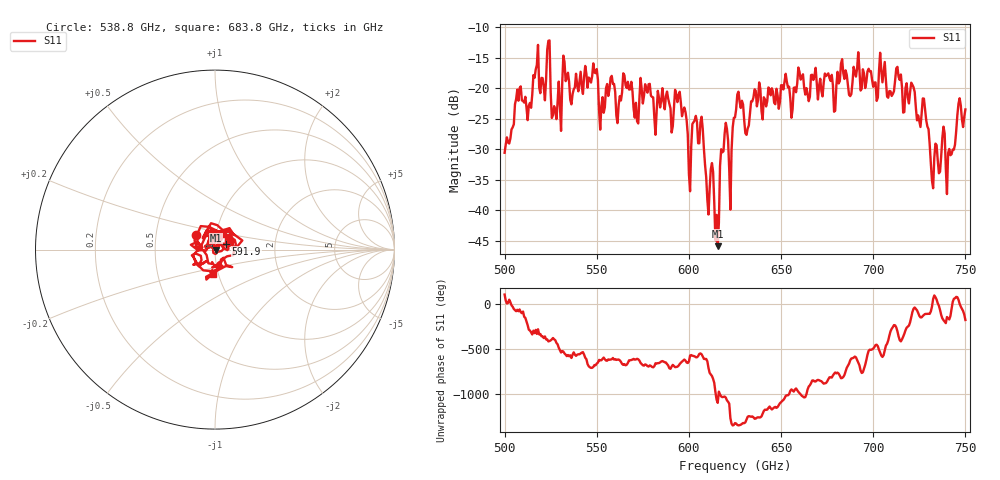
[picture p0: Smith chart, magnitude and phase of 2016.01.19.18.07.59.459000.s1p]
!Created with skrf (http://scikit-rf.org).
# GHz S RI R 50.0
!freq ReS11 ImS11
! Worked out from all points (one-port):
!   401 points, 500 GHz to 750 GHz, reference 50 ohm
!   lowest |S11| = -45.9 dB at 615.6 GHz (marker M1), VSWR 1.01, Z = 50.5 - j0.212 ohm
!   |S11| at or under -10 dB: start of sweep to end of sweep
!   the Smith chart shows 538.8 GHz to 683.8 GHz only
!   S11 on the Smith chart (normalised r, x): 538.8 GHz: 0.80, +0.13; 591.9 GHz: 1.13, +0.08; 683.8 GHz: 0.95, -0.26
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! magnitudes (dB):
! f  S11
! 500 GHz  -30.5
! 507.5 GHz  -22.0
! 513.8 GHz  -22.4
! 516.9 GHz  -16.9
! 520.6 GHz  -18.3
! 523.8 GHz  -12.2
! 526.9 GHz  -22.9
! 531.2 GHz  -19.2
! 538.8 GHz  -17.6
! 562.5 GHz  -21.3
! 565.6 GHz  -19.5
! 591.9 GHz  -23.1
! 593.8 GHz  -22.2
! 600 GHz  -34.0
! 606.9 GHz  -24.6
! 610 GHz  -38.2
! 615.6 GHz  -45.9
! 618.8 GHz  -30.3
! 622.5 GHz  -39.9
! 625 GHz  -24.8
! 656.2 GHz  -23.4
! 683.8 GHz  -17.5
! 687.5 GHz  -21.3
! 705 GHz  -19.0
! 718.8 GHz  -21.5
! 728.1 GHz  -23.5
! 731.9 GHz  -35.1
! 750 GHz  -23.4
